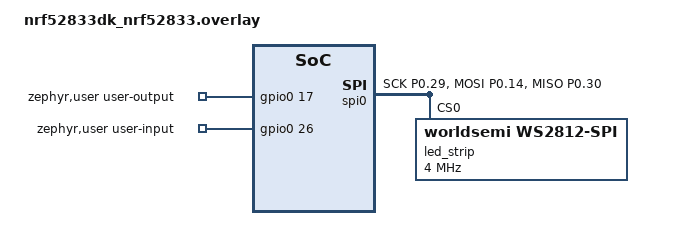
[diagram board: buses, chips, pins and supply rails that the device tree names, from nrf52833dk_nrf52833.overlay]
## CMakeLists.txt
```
# SPDX-License-Identifier: Apache-2.0

cmake_minimum_required(VERSION 3.20.0)

find_package(Zephyr REQUIRED HINTS $ENV{ZEPHYR_BASE})
project(adc)

target_sources(app PRIVATE src/main.c src/micsense_service.c)
```

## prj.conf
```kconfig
CONFIG_ADC=y
CONFIG_NEWLIB_LIBC=y
CONFIG_NEWLIB_LIBC_FLOAT_PRINTF=y
CONFIG_GPIO=y
CONFIG_SPI=y
#CONFIG_WS2812_STRIP=y
#CONFIG_LED_STRIP=y

CONFIG_BT=y
CONFIG_BT_PERIPHERAL=y
CONFIG_BT_DEVICE_NAME="Mic-Sense"
CONFIG_BT_MAX_PAIRED=1
CONFIG_BT_GATT_DYNAMIC_DB=y

CONFIG_BT_BUF_ACL_TX_SIZE=251
CONFIG_BT_BUF_ACL_TX_COUNT=3
CONFIG_BT_BUF_ACL_RX_SIZE=251
CONFIG_BT_BUF_EVT_RX_COUNT=10

# TX Power: kept at +8 dBm for maximum range
# This was intentionally set for the Jack Jack project to achieve maximum BLE range
CONFIG_BT_CTLR_TX_PWR_PLUS_8=y

# Coded PHY removed for iPhone compatibility
# CONFIG_BT_CTLR_PHY_CODED=y
# CONFIG_BT_PHY_UPDATE=y
# CONFIG_BT_EXT_ADV=y

# Longer connection interval = better battery + range
CONFIG_BT_PERIPHERAL_PREF_MIN_INT=160
CONFIG_BT_PERIPHERAL_PREF_MAX_INT=320
CONFIG_BT_PERIPHERAL_PREF_LATENCY=2
CONFIG_BT_PERIPHERAL_PREF_TIMEOUT=600

# [BAT-OPT-8] Disable logging for production/field builds.
#
# CONFIG_LOG=y keeps the logging subsystem active — it allocates message
# buffers, processes log calls even when nothing is connected to RTT,
# and adds overhead to every printk()/LOG_xxx() call.
# RTT itself keeps a background thread waiting for a debugger.
#
# For development: keep these enabled (comment out the =n lines).
# For production flash: enable the =n lines to save ~1–2 mA and
# reduce flash/RAM usage.
#
# CONFIG_LOG=n
# CONFIG_RTT_CONSOLE=n
# CONFIG_USE_SEGGER_RTT=n

CONFIG_RTT_CONSOLE=y
CONFIG_STDOUT_CONSOLE=y
CONFIG_UART_CONSOLE=n
CONFIG_USE_SEGGER_RTT=y
CONFIG_LOG=y

# RC oscillator — required since board has no LF crystal
CONFIG_CLOCK_CONTROL_NRF_K32SRC_RC=y
CONFIG_CLOCK_CONTROL_NRF_K32SRC_XTAL=n
CONFIG_CLOCK_CONTROL_NRF_K32SRC_RC_CALIBRATION=y

# [BAT-OPT-9] Zephyr Power Management.
#
# Enables the PM subsystem which allows the kernel to put the nRF52
# into WFI (Wait For Interrupt) / low-power idle between scheduler
# ticks instead of busy-spinning. This works together with the
# k_msleep() call added in main.c [BAT-OPT-1] — without CONFIG_PM=y,
# k_msleep() still sleeps but the SoC stays in a shallow idle.
# With CONFIG_PM=y, the nRF52 enters a deeper sleep state during the
# ~8 ms inter-frame idle, cutting idle current from ~1.5 mA to ~5 µA.
CONFIG_PM=y
CONFIG_PM_DEVICE=y
```

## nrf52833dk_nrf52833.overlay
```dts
// To get started, press Ctrl+Space to bring up the completion menu and view the available nodes.

// You can also use the buttons in the sidebar to perform actions on nodes.
// Actions currently available include:

// * Enabling / disabling the node
// * Adding the bus to a bus
// * Removing the node
// * Connecting ADC channels

// For more help, browse the DeviceTree documentation at https://docs.zephyrproject.org/latest/guides/dts/index.html
// You can also visit the nRF DeviceTree extension documentation at https://docs.nordicsemi.com/bundle/nrf-connect-vscode/page/guides/ncs_configure_app.html#devicetree-support-in-the-extension

// 	model = "Nordic nRF52833 DK NRF52833";
// 	compatible = "nordic,nrf52833-dk-nrf52833";

#include <zephyr/dt-bindings/led/led.h>

// #include "nrf52-bindings.h"

&spi0 {
	compatible = "nordic,nrf-spi";
	status = "okay";
	pinctrl-0 = <&spi0_custom>;
	pinctrl-1 = <&spi0_sleep>;
	pinctrl-names = "default", "sleep";

	led_strip: ws2812@0 {
		compatible = "worldsemi,ws2812-spi";

		/* SPI */
		reg = <0>; /* ignored, but necessary for SPI bindings */
		spi-max-frequency = <4000000>;

		/* WS2812 */
		chain-length = <1>; /* arbitrary; change at will */
		color-mapping = <LED_COLOR_ID_GREEN
				 LED_COLOR_ID_RED
				 LED_COLOR_ID_BLUE>;
		spi-one-frame = <0x70>;
		spi-zero-frame = <0x40>;
        status = "okay";
	};

	
};

/ {
	aliases {
		led-strip = &led_strip;
	};
};

&pinctrl {
	spi0_custom: spi0_custom {
		group1 {
			psels = <NRF_PSEL(SPIM_SCK, 0, 29)>,
				<NRF_PSEL(SPIM_MOSI, 0, 14)>,
				<NRF_PSEL(SPIM_MISO, 0, 30)>;
		};
	};

	spi0_sleep: spi0_sleep {
		group1 {
			psels = <NRF_PSEL(SPIM_SCK, 0, 29)>,
				<NRF_PSEL(SPIM_MOSI, 0, 14)>,
				<NRF_PSEL(SPIM_MISO, 0, 30)>;
			low-power-enable;
		};
	};
};


&gpio0 {
    status = "okay";
};


/ {
    zephyr,user {
        user-output-gpios = <&gpio0 17 GPIO_ACTIVE_HIGH>;
        user-input-gpios = <&gpio0 26 GPIO_ACTIVE_HIGH>;
    };
};
```

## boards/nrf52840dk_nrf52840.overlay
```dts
/*
 * SPDX-License-Identifier: Apache-2.0
 */

/ {
	zephyr,user {
		io-channels = <&adc 0>, <&adc 1>, <&adc 7>;
		user-output-gpios = <&gpio0 13 GPIO_ACTIVE_HIGH>;
		user-input-gpios = <&gpio0 11 GPIO_ACTIVE_LOW>;
	};
};

&adc {
	#address-cells = <1>;
	#size-cells = <0>;

	channel@0 {
		reg = <0>;
		zephyr,gain = "ADC_GAIN_1_6";
		zephyr,reference = "ADC_REF_INTERNAL";
		zephyr,acquisition-time = <ADC_ACQ_TIME_DEFAULT>;
		zephyr,input-positive = <NRF_SAADC_AIN1>;
		zephyr,resolution = <12>;
	};

	channel@1 {
		reg = <1>;
		zephyr,gain = "ADC_GAIN_1_6";
		zephyr,reference = "ADC_REF_INTERNAL";
		zephyr,acquisition-time = <ADC_ACQ_TIME_DEFAULT>;
		zephyr,input-positive = <NRF_SAADC_VDD>;
		zephyr,resolution = <14>;
		zephyr,oversampling = <8>;
	};

	channel@7 {
		reg = <7>;
		zephyr,gain = "ADC_GAIN_1_5";
		zephyr,reference = "ADC_REF_VDD_1_4";
		zephyr,vref-mv = <750>;
		zephyr,acquisition-time = <ADC_ACQ_TIME_DEFAULT>;
		zephyr,input-positive = <NRF_SAADC_AIN6>;
		zephyr,input-negative = <NRF_SAADC_AIN7>;
		zephyr,resolution = <12>;
	};
};
```

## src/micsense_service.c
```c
#include <zephyr/types.h>
#include <stddef.h>
#include <string.h>
#include <errno.h>
#include <soc.h>
#include <stdio.h>

#include <zephyr/bluetooth/bluetooth.h>
#include <zephyr/bluetooth/hci.h>
#include <zephyr/bluetooth/conn.h>
#include <zephyr/bluetooth/gatt.h>
#include <zephyr/bluetooth/uuid.h>
#include "micsense_service.h"

/* UUIDs Definitions */
#define BT_UUID_GET_THRESHOLD_SERVICE           BT_UUID_DECLARE_128(BT_UUID_GET_THRESHOLD_SERVICE_VAL)
#define BT_UUID_GET_THRESHOLD_CHARACTERISTIC    BT_UUID_DECLARE_128(BT_UUID_GET_THRESHOLD_CHARACTERISTIC_VAL)

#define BT_UUID_SET_THRESHOLD_SERVICE           BT_UUID_DECLARE_128(BT_UUID_SET_THRESHOLD_SERVICE_VAL)
#define BT_UUID_SET_THRESHOLD_CHARACTERISTIC    BT_UUID_DECLARE_128(BT_UUID_SET_THRESHOLD_CHARACTERISTIC_VAL)

#define BT_UUID_GET_BATTERY_SERVICE              BT_UUID_DECLARE_128(BT_UUID_GET_BATTERY_SERVICE_VAL)
#define BT_UUID_GET_BATTERY_CHARACTERISTIC       BT_UUID_DECLARE_128(BT_UUID_GET_BATTERY_CHARACTERISTIC_VAL)

#define BT_UUID_GET_SOUND_LEVEL_SERVICE          BT_UUID_DECLARE_128(BT_UUID_GET_SOUND_LEVEL_SERVICE_VAL)
#define BT_UUID_GET_SOUND_LEVEL_CHARACTERISTIC   BT_UUID_DECLARE_128(BT_UUID_GET_SOUND_LEVEL_CHARACTERISTIC_VAL)

#define BT_UUID_SET_SOUND_LEVEL_SERVICE          BT_UUID_DECLARE_128(BT_UUID_SET_SOUND_LEVEL_SERVICE_VAL)
#define BT_UUID_SET_SOUND_LEVEL_CHARACTERISTIC   BT_UUID_DECLARE_128(BT_UUID_SET_SOUND_LEVEL_CHARACTERISTIC_VAL)

#define BT_UUID_THRESHOLD_ALERT_SERVICE          BT_UUID_DECLARE_128(BT_UUID_THRESHOLD_ALERT_SERVICE_VAL)
#define BT_UUID_THRESHOLD_ALERT_CHARACTERISTIC   BT_UUID_DECLARE_128(BT_UUID_THRESHOLD_ALERT_CHARACTERISTIC_VAL)

#define BT_UUID_CALIBRATE_SERVICE                BT_UUID_DECLARE_128(BT_UUID_CALIBRATE_SERVICE_VAL)
#define BT_UUID_CALIBRATE_CHARACTERISTIC         BT_UUID_DECLARE_128(BT_UUID_CALIBRATE_CHARACTERISTIC_VAL)

#define BT_UUID_GET_NOISE_FLOOR_SERVICE           BT_UUID_DECLARE_128(BT_UUID_GET_NOISE_FLOOR_SERVICE_VAL)
#define BT_UUID_GET_NOISE_FLOOR_CHARACTERISTIC    BT_UUID_DECLARE_128(BT_UUID_GET_NOISE_FLOOR_CHARACTERISTIC_VAL)

#define BT_UUID_MICSENESE BT_UUID_DECLARE_128(BT_UUID_MICSENESE_VAL)
#define MAX_TRANSMIT_SIZE 1024

volatile bool ble_ready = false;

struct bt_conn *my_connection = NULL;
bool notify_enabled = false;

uint8_t threshold_value         = 50;
static uint8_t battery_level    = 40;
static uint8_t sound_level      = 0;
uint8_t sound_streaming_enabled = 0;
volatile uint8_t calibration_requested = 0;
uint8_t noise_floor_db = 0;
static bool threshold_alert_enabled = false;
uint8_t alertThreshold;

int MICSENSE_service_init(void)
{
    return 0;
}

static ssize_t on_receive(struct bt_conn *conn,
                          const struct bt_gatt_attr *attr,
                          const void *buf,
                          uint16_t len,
                          uint16_t offset,
                          uint8_t flags)
{
    uint8_t received_value;
    memcpy(&received_value, buf, sizeof(uint8_t));
    threshold_value = received_value;
    printk("Received integer: %d\n", received_value);
    printk("------Value stored in threshold variable: %d\n", threshold_value);
    return len;
}

static ssize_t on_SetStream(struct bt_conn *conn,
    const struct bt_gatt_attr *attr,
    const void *buf,
    uint16_t len,
    uint16_t offset,
    uint8_t flags)
{
    uint8_t received_value;
    memcpy(&received_value, buf, sizeof(uint8_t));
    sound_streaming_enabled = received_value;
    printk("Received Set Stream: %d\n", received_value);
    return len;
}

ssize_t on_getThreshold(struct bt_conn *conn,
    const struct bt_gatt_attr *attr,
    const void *buf,
    uint16_t len,
    uint16_t offset)
{
    printk("In On get Threshold function\n");
    return bt_gatt_attr_read(conn, attr, (void *)buf, len, offset,
                             &threshold_value, sizeof(threshold_value));
}

void on_cccd_changed(const struct bt_gatt_attr *attr, uint16_t value)
{
    ARG_UNUSED(attr);
    switch (value) {
    case BT_GATT_CCC_NOTIFY:
        printk("Notifications enabled\n");
        notify_enabled = true;
        break;
    case BT_GATT_CCC_INDICATE:
        break;
    case 0:
        printk("Notifications disabled\n");
        notify_enabled = false;
        break;
    default:
        printk("Error, CCCD has been set to an invalid value\n");
    }
}

static ssize_t read_hello(struct bt_conn *conn,
    const struct bt_gatt_attr *attr,
    void *buf,
    uint16_t len,
    uint16_t offset)
{
    const uint8_t *value = attr->user_data;
    return bt_gatt_attr_read(conn, attr, buf, len, offset, value, sizeof(uint8_t));
}

BT_GATT_SERVICE_DEFINE(setThreshold,
    BT_GATT_PRIMARY_SERVICE(BT_UUID_SET_THRESHOLD_SERVICE),
    BT_GATT_CHARACTERISTIC(BT_UUID_SET_THRESHOLD_CHARACTERISTIC,
                           BT_GATT_CHRC_WRITE,
                           BT_GATT_PERM_WRITE,
                           NULL, on_receive, NULL),
);

BT_GATT_SERVICE_DEFINE(setStreamService,
    BT_GATT_PRIMARY_SERVICE(BT_UUID_SET_SOUND_LEVEL_SERVICE),
    BT_GATT_CHARACTERISTIC(BT_UUID_SET_SOUND_LEVEL_CHARACTERISTIC,
                           BT_GATT_CHRC_WRITE,
                           BT_GATT_PERM_WRITE,
                           NULL, on_SetStream, NULL),
);

BT_GATT_SERVICE_DEFINE(getThreshold,
    BT_GATT_PRIMARY_SERVICE(BT_UUID_GET_THRESHOLD_SERVICE),
    BT_GATT_CHARACTERISTIC(BT_UUID_GET_THRESHOLD_CHARACTERISTIC,
                           BT_GATT_CHRC_READ,
                           BT_GATT_PERM_READ,
                           read_hello, NULL, &threshold_value),
);

BT_GATT_SERVICE_DEFINE(batteryService,
    BT_GATT_PRIMARY_SERVICE(BT_UUID_GET_BATTERY_SERVICE),
    BT_GATT_CHARACTERISTIC(BT_UUID_GET_BATTERY_CHARACTERISTIC,
                           BT_GATT_CHRC_READ,
                           BT_GATT_PERM_READ,
                           read_hello, NULL, &battery_level),
);

const struct bt_gatt_attr *alert_threshold_attr;

BT_GATT_SERVICE_DEFINE(alertThresholdSrvc,
    BT_GATT_PRIMARY_SERVICE(BT_UUID_THRESHOLD_ALERT_SERVICE),
    BT_GATT_CHARACTERISTIC(BT_UUID_THRESHOLD_ALERT_CHARACTERISTIC,
                           BT_GATT_CHRC_READ | BT_GATT_CHRC_NOTIFY,
                           BT_GATT_PERM_READ,
                           read_hello, NULL, &alertThreshold),
    BT_GATT_CCC(on_cccd_changed, BT_GATT_PERM_READ | BT_GATT_PERM_WRITE)
);

const struct bt_gatt_attr *getStreamService_attr;

BT_GATT_SERVICE_DEFINE(getStreamService,
    BT_GATT_PRIMARY_SERVICE(BT_UUID_GET_SOUND_LEVEL_SERVICE),
    BT_GATT_CHARACTERISTIC(BT_UUID_GET_SOUND_LEVEL_CHARACTERISTIC,
                           BT_GATT_CHRC_READ | BT_GATT_CHRC_NOTIFY,
                           BT_GATT_PERM_READ,
                           read_hello, NULL, &db_int),
    BT_GATT_CCC(on_cccd_changed, BT_GATT_PERM_READ | BT_GATT_PERM_WRITE)
);

static ssize_t on_calibrate(struct bt_conn *conn,
    const struct bt_gatt_attr *attr,
    const void *buf,
    uint16_t len,
    uint16_t offset,
    uint8_t flags)
{
    uint8_t received_value;
    memcpy(&received_value, buf, sizeof(uint8_t));
    if (received_value == 1) {
        calibration_requested = 1;
        printk("Calibration requested via BLE\n");
    }
    return len;
}

BT_GATT_SERVICE_DEFINE(calibrateService,
    BT_GATT_PRIMARY_SERVICE(BT_UUID_CALIBRATE_SERVICE),
    BT_GATT_CHARACTERISTIC(BT_UUID_CALIBRATE_CHARACTERISTIC,
                           BT_GATT_CHRC_WRITE,
                           BT_GATT_PERM_WRITE,
                           NULL, on_calibrate, NULL),
);

BT_GATT_SERVICE_DEFINE(noiseFloorService,
    BT_GATT_PRIMARY_SERVICE(BT_UUID_GET_NOISE_FLOOR_SERVICE),
    BT_GATT_CHARACTERISTIC(BT_UUID_GET_NOISE_FLOOR_CHARACTERISTIC,
                           BT_GATT_CHRC_READ,
                           BT_GATT_PERM_READ,
                           read_hello, NULL, &noise_floor_db),
);

void setup_alert_service(void)
{
    alert_threshold_attr  = &alertThresholdSrvc.attrs[1];
    getStreamService_attr = &getStreamService.attrs[1];
}

static void connected(struct bt_conn *conn, uint8_t err)
{
    struct bt_conn_info info;
    char addr[BT_ADDR_LE_STR_LEN];
    my_connection = conn;

    if (err) {
        printf("Connection failed (err %u)\n", err);
        return;
    } else if (bt_conn_get_info(conn, &info)) {
        printf("Could not parse info\n");
    } else {
        bt_addr_le_to_str(bt_conn_get_dst(conn), addr, sizeof(addr));
        printf("Connection established! Connected to: %s\n", addr);

        setup_alert_service();
        update_led_state(BLE_STATE_CONNECTED);

        const struct bt_le_conn_param param = BT_LE_CONN_PARAM_INIT(24, 40, 0, 400);
        int rc = bt_conn_le_param_update(conn, &param);
        if (rc) {
            printf("conn param update failed (%d)\n", rc);
        }
    }
}

static void disconnected(struct bt_conn *conn, uint8_t reason)
{
    printf("Disconnected (reason %u)\n", reason);
    my_connection = NULL;
    update_led_state(BLE_STATE_ADVERTISING);
}

static struct bt_conn_cb conn_callbacks = {
    .connected    = connected,
    .disconnected = disconnected,
};

int init_ble(void)
{
    int err;

    printf("Initializing BLE\n");
    printf("Calling bt_enable...\n");

    err = bt_enable(NULL);
    if (err) {
        printf("bt_enable failed (err %d)\n", err);
        return err;
    }
    printf("bt_enable done!\n");

    bt_conn_cb_register(&conn_callbacks);
    printf("conn callbacks registered\n");

    setup_alert_service();
    printf("alert service setup done\n");

    printf("BLE stack ready.\n");
    return 0;
}
```

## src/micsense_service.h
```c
#include <zephyr/types.h>
#include <stddef.h>
#include <string.h>
#include <errno.h>
#include <soc.h>

#include <zephyr/bluetooth/bluetooth.h>
#include <zephyr/bluetooth/hci.h>
#include <zephyr/bluetooth/conn.h>
#include <zephyr/bluetooth/gatt.h>
#include <zephyr/bluetooth/uuid.h>

// GET_THRESHOLD_SERVICE=4fafc202-1fb5-459e-8fcc-c5c9c331914c
// GET_THRESHOLD_CHARACTERISTIC=beb5483f-36e1-4688-b7f5-ea07361b26a9
// 1. UUID VALUE DEFINITIONS (for BT_DATA_BYTES)
#define BT_UUID_GET_THRESHOLD_SERVICE_VAL        BT_UUID_128_ENCODE(0x4fafc202, 0x1fb5, 0x459e, 0x8fcc, 0xc5c9c331914c)
#define BT_UUID_GET_THRESHOLD_CHARACTERISTIC_VAL BT_UUID_128_ENCODE(0xbeb5483f, 0x36e1, 0x4688, 0xb7f5, 0xea07361b26a9)

// SET_THRESHOLD_SERVICE=4fafc201-1fb5-459e-8fcc-c5c9c331914b
// SET_THRESHOLD_CHARACTERISTIC=beb5483e-36e1-4688-b7f5-ea07361b26a8
#define BT_UUID_SET_THRESHOLD_SERVICE_VAL        BT_UUID_128_ENCODE(0x4fafc201, 0x1fb5, 0x459e, 0x8fcc, 0xc5c9c331914b)
#define BT_UUID_SET_THRESHOLD_CHARACTERISTIC_VAL BT_UUID_128_ENCODE(0xbeb5483e, 0x36e1, 0x4688, 0xb7f5, 0xea07361b26a8)

// GET_BATTERY_SERVICE=4fafc203-1fb5-459e-8fcc-c5c9c331914a
// GET_BATTERY_CHARACTERISTIC=beb54840-36e1-4688-b7f5-ea07361b26ab
#define BT_UUID_GET_BATTERY_SERVICE_VAL          BT_UUID_128_ENCODE(0x4fafc203, 0x1fb5, 0x459e, 0x8fcc, 0xc5c9c331914a)
#define BT_UUID_GET_BATTERY_CHARACTERISTIC_VAL   BT_UUID_128_ENCODE(0xbeb54840, 0x36e1, 0x4688, 0xb7f5, 0xea07361b26ab)


// GET_SOUND_LEVEL_SERVICE=4fafc203-1fb5-459e-8fcc-c5c9c331914e
// GET_SOUND_LEVEL_CHARACTERISTIC=beb54840-36e1-4688-b7f5-ea07361b26ac
#define BT_UUID_GET_SOUND_LEVEL_SERVICE_VAL      BT_UUID_128_ENCODE(0x4fafc203, 0x1fb5, 0x459e, 0x8fcc, 0xc5c9c331914e)
#define BT_UUID_GET_SOUND_LEVEL_CHARACTERISTIC_VAL BT_UUID_128_ENCODE(0xbeb54840, 0x36e1, 0x4688, 0xb7f5, 0xea07361b26ac)

// SET_SOUND_LEVEL_SERVICE=4fafc203-1fb5-459e-8fcc-c5c9c331914f
// SET_SOUND_LEVEL_CHARACTERISTIC=beb54840-36e1-4688-b7f5-ea07361b26ad
#define BT_UUID_SET_SOUND_LEVEL_SERVICE_VAL      BT_UUID_128_ENCODE(0x4fafc203, 0x1fb5, 0x459e, 0x8fcc, 0xc5c9c331914f)
#define BT_UUID_SET_SOUND_LEVEL_CHARACTERISTIC_VAL BT_UUID_128_ENCODE(0xbeb54840, 0x36e1, 0x4688, 0xb7f5, 0xea07361b26ad)

// THRESHOLD_ALERT_SERVICE=4fafc203-1fb5-459e-8fcc-c5c9c331914d
// THRESHOLD_ALERT_CHARACTERISTIC=beb54840-36e1-4688-b7f5-ea07361b26aa
#define BT_UUID_THRESHOLD_ALERT_SERVICE_VAL      BT_UUID_128_ENCODE(0x4fafc203, 0x1fb5, 0x459e, 0x8fcc, 0xc5c9c331914d)
#define BT_UUID_THRESHOLD_ALERT_CHARACTERISTIC_VAL BT_UUID_128_ENCODE(0xbeb54840, 0x36e1, 0x4688, 0xb7f5, 0xea07361b26aa)

// CALIBRATE_SERVICE=4fafc204-1fb5-459e-8fcc-c5c9c3319150
// CALIBRATE_CHARACTERISTIC=beb54841-36e1-4688-b7f5-ea07361b26ae
#define BT_UUID_CALIBRATE_SERVICE_VAL            BT_UUID_128_ENCODE(0x4fafc204, 0x1fb5, 0x459e, 0x8fcc, 0xc5c9c3319150)
#define BT_UUID_CALIBRATE_CHARACTERISTIC_VAL     BT_UUID_128_ENCODE(0xbeb54841, 0x36e1, 0x4688, 0xb7f5, 0xea07361b26ae)

// GET_NOISE_FLOOR_SERVICE=4fafc204-1fb5-459e-8fcc-c5c9c3319151
// GET_NOISE_FLOOR_CHARACTERISTIC=beb54841-36e1-4688-b7f5-ea07361b26af
#define BT_UUID_GET_NOISE_FLOOR_SERVICE_VAL      BT_UUID_128_ENCODE(0x4fafc204, 0x1fb5, 0x459e, 0x8fcc, 0xc5c9c3319151)
#define BT_UUID_GET_NOISE_FLOOR_CHARACTERISTIC_VAL BT_UUID_128_ENCODE(0xbeb54841, 0x36e1, 0x4688, 0xb7f5, 0xea07361b26af)


//
// int MICSENSE_service_init (void);
extern uint8_t r, g, b;
extern float db;
extern int16_t db_int;
extern uint8_t alertThreshold;
extern uint8_t threshold_value;
extern uint8_t sound_streaming_enabled;
extern volatile uint8_t calibration_requested;
extern uint8_t noise_floor_db;


extern struct bt_conn *my_connection;
extern bool notify_enabled;

extern const struct bt_gatt_attr *alert_threshold_attr;
extern const struct bt_gatt_attr *getStreamService_attr;
// extern volatile bool ble_ready = false;
// void update_led_strip(uint8_t r, uint8_t g, uint8_t b);
// void update_led(uint8_t index, uint8_t r, uint8_t g, uint8_t b);

/* Initialize the MICSENSE BLE service */
int MICSENSE_service_init(void);

/* Initialize BLE stack */
int init_ble(void);
enum ble_state {
    BLE_STATE_IDLE,
    BLE_STATE_ADVERTISING,
    BLE_STATE_CONNECTING,
    BLE_STATE_CONNECTED
};

/* BLE Connection Callbacks */
void on_cccd_changed(const struct bt_gatt_attr *attr, uint16_t value);
```
